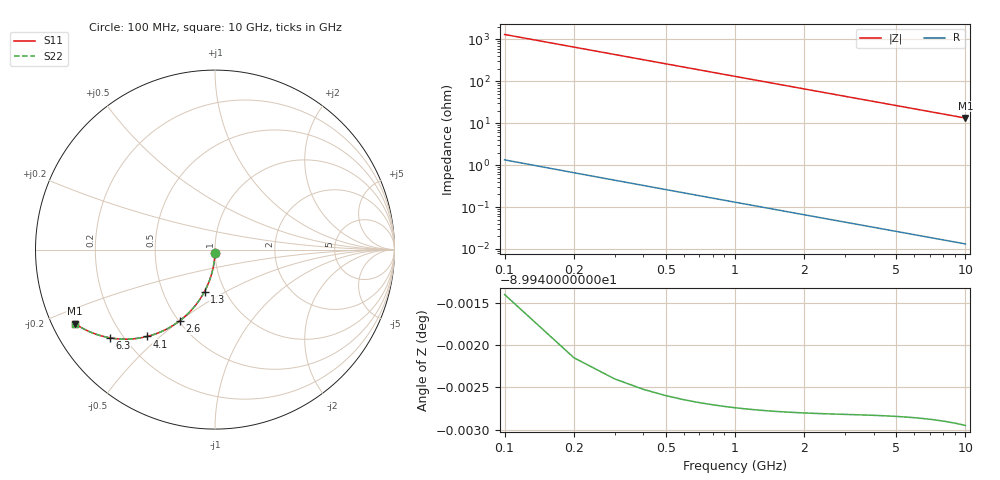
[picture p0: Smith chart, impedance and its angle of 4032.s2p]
# Hz S RI R 50.00
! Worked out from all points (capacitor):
!   100 points, 100 MHz to 10 GHz, reference 50 ohm
!   read as one part in shunt: C = 1.22 pF near 100 MHz
!   lowest |Z| = 13.3 ohm at 10 GHz (marker M1)
!   S11 on the Smith chart (normalised r, x): 100 MHz: 1.00, -0.04; 1.3 GHz: 0.80, -0.40; 2.6 GHz: 0.51, -0.50; 4.1 GHz: 0.29, -0.45; 6.3 GHz: 0.15, -0.36; 10 GHz: 0.07, -0.25
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1e8  -0.000385 -0.0191  0.9996 -0.0192  0.9996 -0.0192  -0.000385 -0.0191
2e8  -0.0015 -0.0382  0.9985 -0.0383  0.9985 -0.0383  -0.0015 -0.0382
3e8  -0.00335 -0.0572  0.9967 -0.0573  0.9967 -0.0573  -0.00335 -0.0572
4e8  -0.0059 -0.0761  0.9941 -0.0762  0.9941 -0.0762  -0.0059 -0.0761
5e8  -0.00917 -0.0948  0.9908 -0.0949  0.9908 -0.0949  -0.00917 -0.0948
6e8  -0.0131 -0.1132  0.9869 -0.1134  0.9869 -0.1134  -0.0131 -0.1132
7e8  -0.0177 -0.1315  0.9822 -0.1316  0.9822 -0.1316  -0.0177 -0.1315
8e8  -0.023 -0.1494  0.977 -0.1496  0.977 -0.1496  -0.023 -0.1494
1e9  -0.0354 -0.1843  0.9646 -0.1845  0.9646 -0.1845  -0.0354 -0.1843
1.3e9  -0.0583 -0.2337  0.9417 -0.2339  0.9417 -0.2339  -0.0583 -0.2337
1.5e9  -0.076 -0.2644  0.924 -0.2647  0.924 -0.2647  -0.076 -0.2644
1.8e9  -0.1057 -0.3068  0.8943 -0.3071  0.8943 -0.3071  -0.1057 -0.3068
2.2e9  -0.1497 -0.3561  0.8503 -0.3565  0.8503 -0.3565  -0.1497 -0.3561
2.6e9  -0.197 -0.397  0.803 -0.3975  0.803 -0.3975  -0.197 -0.397
3.4e9  -0.2947 -0.455  0.7053 -0.4558  0.7053 -0.4558  -0.2947 -0.455
4.1e9  -0.3772 -0.4838  0.6228 -0.4846  0.6228 -0.4846  -0.3772 -0.4838
5.1e9  -0.4829 -0.4987  0.5171 -0.4997  0.5171 -0.4997  -0.4829 -0.4987
6.3e9  -0.5869 -0.4912  0.4131 -0.4926  0.4131 -0.4926  -0.5869 -0.4912
6.7e9  -0.6162 -0.4851  0.3838 -0.4865  0.3838 -0.4865  -0.6162 -0.4851
7.5e9  -0.6677 -0.4697  0.3323 -0.4713  0.3323 -0.4713  -0.6677 -0.4697
8.4e9  -0.7156 -0.4497  0.2843 -0.4515  0.2843 -0.4515  -0.7156 -0.4497
1e10  -0.7807 -0.4122  0.2193 -0.4143  0.2193 -0.4143  -0.7807 -0.4122
